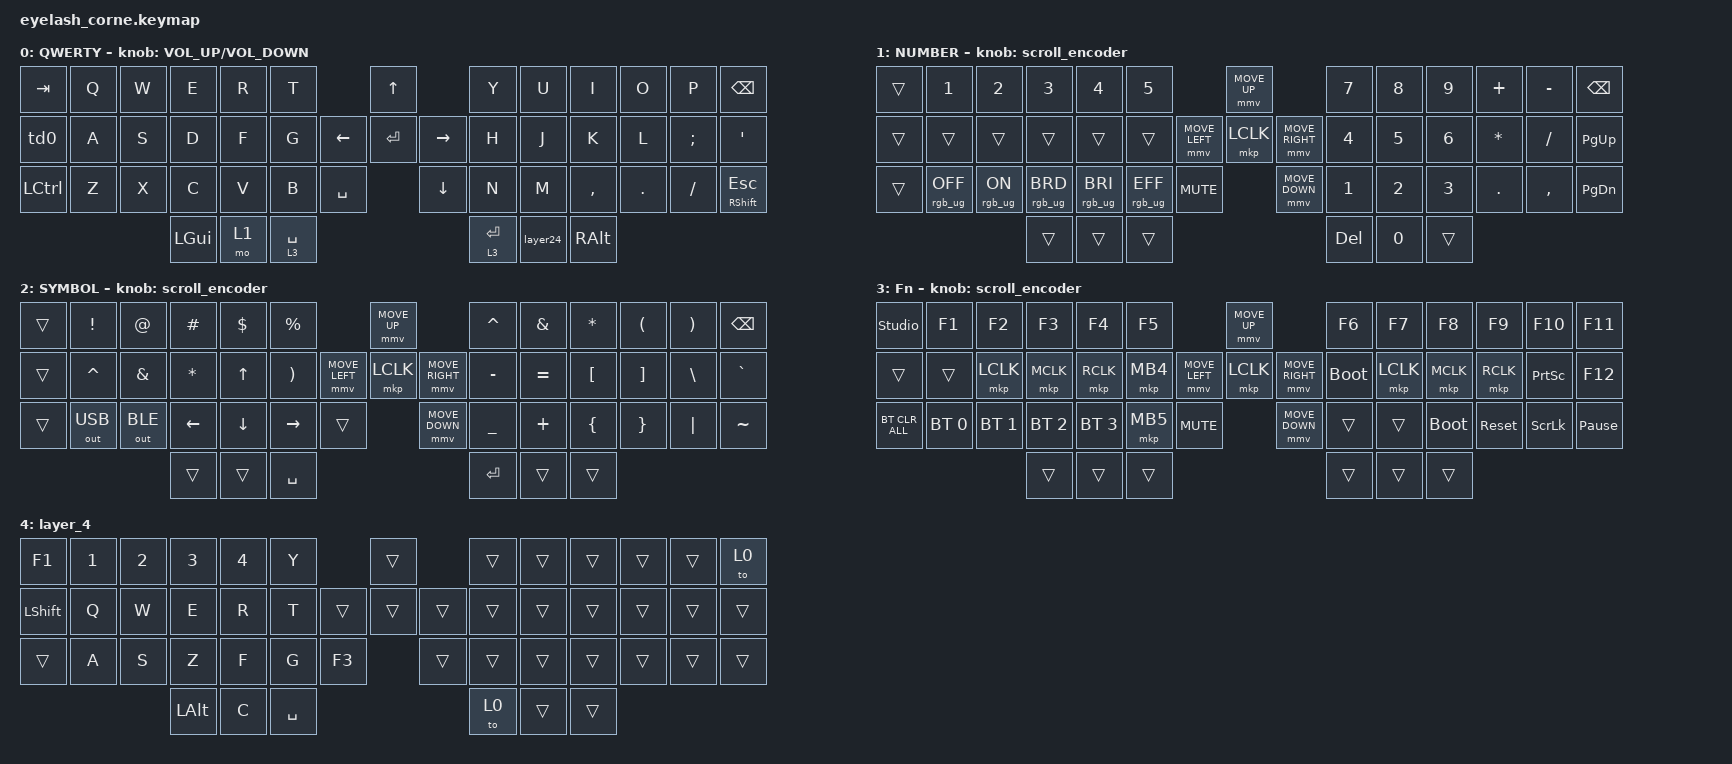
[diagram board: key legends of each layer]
#define ZMK_POINTING_DEFAULT_MOVE_VAL 1200  // 600
#define ZMK_POINTING_DEFAULT_SCRL_VAL 25   // 10

#include <input/processors.dtsi>
#include <zephyr/dt-bindings/input/input-event-codes.h>
#include <behaviors.dtsi>
#include <dt-bindings/zmk/bt.h>
#include <dt-bindings/zmk/keys.h>
#include <dt-bindings/zmk/outputs.h>
#include <dt-bindings/zmk/pointing.h>
#include <dt-bindings/zmk/rgb.h>

&mmv_input_listener { input-processors = <&zip_xy_scaler 2 1>; };

&msc_input_listener { input-processors = <&zip_scroll_scaler 2 1>; };

&msc {
    acceleration-exponent = <1>;      // 0
    time-to-max-speed-ms = <100>;       // 300
    delay-ms = <0>;                   // 0
};

&mmv {
    time-to-max-speed-ms = <500>;
    acceleration-exponent = <1>;
    trigger-period-ms = <16>;
};

&soft_off { hold-time-ms = <2000>; };

/ {
    behaviors {
        td0: td0 {
            compatible = "zmk,behavior-tap-dance";
            display-name = "Shift/Caps Lock Tap Dance";
            #binding-cells = <0>;
            bindings = <&kp LEFT_SHIFT>, <&kp CAPS>;
        };

        layer24: layer24 {
            compatible = "zmk,behavior-tap-dance";
            label = "LAYER24";
            #binding-cells = <0>;
            bindings = <&mo 2>, <&to 4>;
        };

        hold_tap: hold_tap {
            compatible = "zmk,behavior-hold-tap";
            label = "HOLD_TAP";
            bindings = <&kp>, <&kp>;

            #binding-cells = <2>;
            tapping-term-ms = <200>;
        };
    };

    rgb_encoder: rgb_encoder {
        compatible = "zmk,behavior-sensor-rotate";
        #sensor-binding-cells = <0>;
        bindings = <&rgb_ug RGB_BRI>, <&rgb_ug RGB_BRD>;
    };

    scroll_encoder: scroll_encoder {
        compatible = "zmk,behavior-sensor-rotate";
        #sensor-binding-cells = <0>;
        bindings = <&msc SCRL_DOWN>, <&msc SCRL_UP>;

        tap-ms = <100>;
    };

    combos {
        compatible = "zmk,combos";

        softoff {
            bindings = <&soft_off>;
            key-positions = <1 15 29>;
        };
    };

    keymap {
        compatible = "zmk,keymap";

        default_layer {
            display-name = "QWERTY";
            bindings = <
&kp TAB    &kp Q  &kp W  &kp E     &kp R  &kp T                               &kp UP                &kp Y        &kp U     &kp I      &kp O    &kp P     &kp BSPC
&td0       &kp A  &kp S  &kp D     &kp F  &kp G                     &kp LEFT  &kp ENTER  &kp RIGHT  &kp H        &kp J     &kp K      &kp L    &kp SEMI  &kp SQT
&kp LCTRL  &kp Z  &kp X  &kp C     &kp V  &kp B        &kp SPACE              &kp DOWN              &kp N        &kp M     &kp COMMA  &kp DOT  &kp FSLH  &hold_tap RIGHT_SHIFT ESC
                         &kp LGUI  &mo 1  &lt 3 SPACE                                               &lt 3 ENTER  &layer24  &kp RALT
            >;

            sensor-bindings = <&inc_dec_kp C_VOLUME_UP C_VOLUME_DOWN>;
        };

        lower_layer {
            display-name = "NUMBER";
            bindings = <
&trans  &kp N1           &kp N2          &kp N3           &kp N4           &kp N5                                         &mmv MOVE_UP                     &kp N7   &kp N8  &kp N9  &kp PLUS      &kp MINUS  &kp BSPC
&trans  &trans           &trans          &trans           &trans           &trans                         &mmv MOVE_LEFT  &mkp LCLK       &mmv MOVE_RIGHT  &kp N4   &kp N5  &kp N6  &kp ASTERISK  &kp SLASH  &kp PAGE_UP
&trans  &rgb_ug RGB_OFF  &rgb_ug RGB_ON  &rgb_ug RGB_BRD  &rgb_ug RGB_BRI  &rgb_ug RGB_EFF  &kp C_MUTE                    &mmv MOVE_DOWN                   &kp N1   &kp N2  &kp N3  &kp PERIOD    &kp COMMA  &kp PAGE_DOWN
                                         &trans           &trans           &trans                                                                          &kp DEL  &kp N0  &trans
            >;

            sensor-bindings = <&scroll_encoder>;
        };

        raise_layer {
            display-name = "SYMBOL";
            bindings = <
&trans  &kp EXCL      &kp AT         &kp HASH        &kp DLLR        &kp PRCNT                                        &mmv MOVE_UP                     &kp CARET  &kp AMPS   &kp ASTRK  &kp LPAR  &kp RPAR  &kp BSPC
&trans  &kp CARET     &kp AMPERSAND  &kp ASTERISK    &kp UP_ARROW    &kp RIGHT_PARENTHESIS            &mmv MOVE_LEFT  &mkp LCLK       &mmv MOVE_RIGHT  &kp MINUS  &kp EQUAL  &kp LBKT   &kp RBKT  &kp BSLH  &kp GRAVE
&trans  &out OUT_USB  &out OUT_BLE   &kp LEFT_ARROW  &kp DOWN_ARROW  &kp RIGHT              &trans                    &mmv MOVE_DOWN                   &kp UNDER  &kp PLUS   &kp LBRC   &kp RBRC  &kp PIPE  &kp TILDE
                                     &trans          &trans          &kp SPACE                                                                         &kp RET    &trans     &trans
            >;

            sensor-bindings = <&scroll_encoder>;
        };

        layer_3 {
            display-name = "Fn";
            bindings = <
&studio_unlock  &kp F1        &kp F2        &kp F3        &kp F4        &kp F5                                  &mmv MOVE_UP                     &kp F6       &kp F7     &kp F8       &kp F9      &kp F10          &kp F11
&trans          &trans        &mkp LCLK     &mkp MCLK     &mkp RCLK     &mkp MB4                &mmv MOVE_LEFT  &mkp LCLK       &mmv MOVE_RIGHT  &bootloader  &mkp LCLK  &mkp MCLK    &mkp RCLK   &kp PRINTSCREEN  &kp F12
&bt BT_CLR_ALL  &bt BT_SEL 0  &bt BT_SEL 1  &bt BT_SEL 2  &bt BT_SEL 3  &mkp MB5  &kp C_MUTE                    &mmv MOVE_DOWN                   &trans       &trans     &bootloader  &sys_reset  &kp SCROLLLOCK   &kp PAUSE_BREAK
                                            &trans        &trans        &trans                                                                   &trans       &trans     &trans
            >;

            sensor-bindings = <&scroll_encoder>;
        };

        layer_4 {
            bindings = <
&kp F1          &kp N1  &kp N2  &kp N3        &kp N4  &kp Y                        &trans          &trans  &trans  &trans  &trans  &trans  &to 0
&kp LEFT_SHIFT  &kp Q   &kp W   &kp E         &kp R   &kp T                &trans  &trans  &trans  &trans  &trans  &trans  &trans  &trans  &trans
&trans          &kp A   &kp S   &kp Z         &kp F   &kp G      &kp F3            &trans          &trans  &trans  &trans  &trans  &trans  &trans
                                &kp LEFT_ALT  &kp C   &kp SPACE                                    &to 0   &trans  &trans
            >;
        };
    };
};
